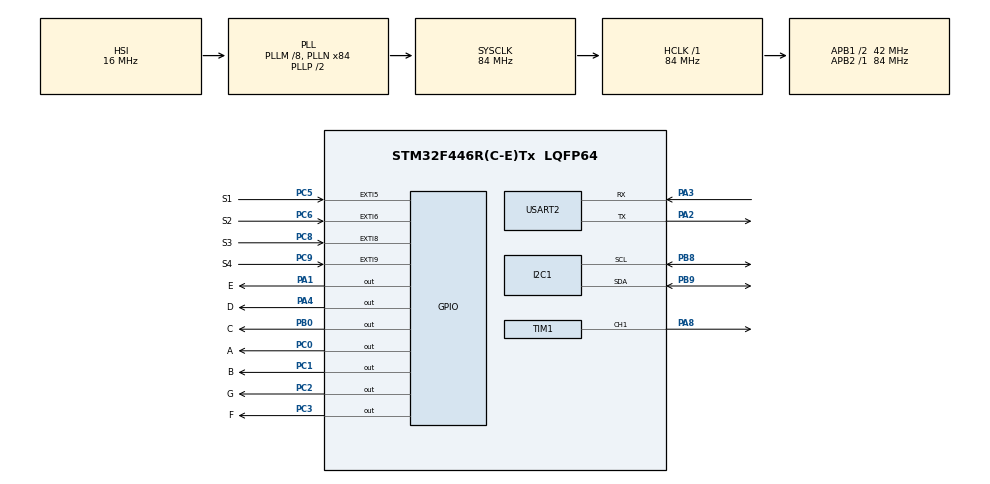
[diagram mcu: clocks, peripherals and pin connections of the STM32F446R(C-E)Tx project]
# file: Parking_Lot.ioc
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Dma.Request0=TIM1_CH1
Dma.TIM1_CH1.0.Direction=DMA_MEMORY_TO_PERIPH
Dma.TIM1_CH1.0.FIFOMode=DMA_FIFOMODE_DISABLE
Dma.TIM1_CH1.0.Instance=DMA2_Stream1
Dma.TIM1_CH1.0.MemDataAlignment=DMA_MDATAALIGN_HALFWORD
Dma.TIM1_CH1.0.MemInc=DMA_MINC_ENABLE
Dma.TIM1_CH1.0.Mode=DMA_NORMAL
Dma.TIM1_CH1.0.PeriphDataAlignment=DMA_PDATAALIGN_HALFWORD
Dma.TIM1_CH1.0.PeriphInc=DMA_PINC_DISABLE
Dma.TIM1_CH1.0.Priority=DMA_PRIORITY_LOW
I2C1.OwnAddress=0x20
Mcu.Family=STM32F4
Mcu.Name=STM32F446R(C-E)Tx
Mcu.Package=LQFP64
NVIC.DMA2_Stream1_IRQn=true\:0\:0\:false\:false\:true\:false\:true\:true
NVIC.EXTI9_5_IRQn=true\:0\:0\:false\:false\:true\:true\:true\:true
NVIC.I2C1_ER_IRQn=true\:0\:0\:false\:false\:true\:true\:true\:true
NVIC.I2C1_EV_IRQn=true\:0\:0\:false\:false\:true\:true\:true\:true
NVIC.PriorityGroup=NVIC_PRIORITYGROUP_4
PA1.GPIO_Label=E
PA1.Signal=GPIO_Output
PA2.Mode=Asynchronous
PA2.Signal=USART2_TX
PA3.Mode=Asynchronous
PA3.Signal=USART2_RX
PA4.GPIO_Label=D
PA4.Signal=GPIO_Output
PA8.Signal=S_TIM1_CH1
PB0.GPIO_Label=C
PB0.Signal=GPIO_Output
PB8.Mode=I2C
PB8.Signal=I2C1_SCL
PB9.Mode=I2C
PB9.Signal=I2C1_SDA
PC0.GPIO_Label=A
PC0.Signal=GPIO_Output
PC1.GPIO_Label=B
PC1.Signal=GPIO_Output
PC2.GPIO_Label=G
PC2.Signal=GPIO_Output
PC3.GPIO_Label=F
PC3.Signal=GPIO_Output
PC5.GPIO_Label=S1
PC5.GPIO_ModeDefaultEXTI=GPIO_MODE_IT_RISING_FALLING
PC5.GPIO_PuPd=GPIO_NOPULL
PC5.Signal=GPXTI5
PC6.GPIO_Label=S2
PC6.GPIO_ModeDefaultEXTI=GPIO_MODE_IT_RISING_FALLING
PC6.GPIO_PuPd=GPIO_NOPULL
PC6.Signal=GPXTI6
PC8.GPIO_Label=S3
PC8.GPIO_PuPd=GPIO_NOPULL
PC8.Signal=GPXTI8
PC9.GPIO_Label=S4
PC9.GPIO_PuPd=GPIO_NOPULL
PC9.Signal=GPXTI9
ProjectManager.HeapSize=0x200
ProjectManager.StackSize=0x400
ProjectManager.TargetToolchain=STM32CubeIDE
RCC.AHBFreq_Value=84000000
RCC.APB1CLKDivider=RCC_HCLK_DIV2
RCC.APB1Freq_Value=42000000
RCC.APB1TimFreq_Value=84000000
RCC.APB2Freq_Value=84000000
RCC.APB2TimFreq_Value=84000000
RCC.CortexFreq_Value=84000000
RCC.HCLKFreq_Value=84000000
RCC.PLLM=8
RCC.PLLN=84
RCC.SYSCLKFreq_VALUE=84000000
RCC.SYSCLKSource=RCC_SYSCLKSOURCE_PLLCLK
RCC.USBFreq_Value=84000000
RCC.VCOOutputFreq_Value=168000000
SH.S_TIM1_CH1.0=TIM1_CH1,PWM Generation1 CH1
TIM1.Channel-PWM\ Generation1\ CH1=TIM_CHANNEL_1
TIM1.Period=150-1
USART2.VirtualMode=VM_ASYNC
board=custom

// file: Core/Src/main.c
/* USER CODE BEGIN Header */
/**
  ******************************************************************************
  * @file           : main.c
  * @brief          : Main program body
  ******************************************************************************
  * @attention
  *
  * Copyright (c) 2025 STMicroelectronics.
  * All rights reserved.
  *
  * This software is licensed under terms that can be found in the LICENSE file
  * in the root directory of this software component.
  * If no LICENSE file comes with this software, it is provided AS-IS.
  *
  ******************************************************************************
  */
/* USER CODE END Header */
#include "main.h"

/* USER CODE BEGIN Includes */
#include "stdio.h"
#include "stdint.h"
#include "Neopixel.h"

/* USER CODE END Includes */

/* USER CODE BEGIN PTD */

// Communication
#define RxSIZE  1
#define TxSIZE  1
/* USER CODE END PTD */

I2C_HandleTypeDef hi2c1;

TIM_HandleTypeDef htim1;
DMA_HandleTypeDef hdma_tim1_ch1;

UART_HandleTypeDef huart2;

/* USER CODE BEGIN PV */

// Communication
uint8_t RxData[RxSIZE];					// Rx Buffer
uint8_t TxData[TxSIZE] = {0};					// Tx Buffer

// Neopixel colors
float brilloled;

// Sensors variables
uint8_t start = 0;
uint8_t keys_memory[8]={0,0,0,0,0,0,0,0};
uint8_t key[8]={0,0,0,0,0,0,0,0};
uint8_t previousStateI2C[4] = {0,0,0,0};
uint8_t currentStateI2C[4] = {0,0,0,0};

// Display 7 segmentos
uint8_t keys = 0;

/* USER CODE END PV */

void SystemClock_Config(void);
static void MX_GPIO_Init(void);
static void MX_DMA_Init(void);
static void MX_I2C1_Init(void);
static void MX_USART2_UART_Init(void);
static void MX_TIM1_Init(void);
/* USER CODE BEGIN PFP */
void showDisplay(uint8_t number);

/* USER CODE END PFP */

int main(void)
{

  /* MCU Configuration--------------------------------------------------------*/

  /* Reset of all peripherals, Initializes the Flash interface and the Systick. */
  HAL_Init();

  /* Configure the system clock */
  SystemClock_Config();

  /* Initialize all configured peripherals */
  MX_GPIO_Init();
  MX_DMA_Init();
  MX_I2C1_Init();
  MX_USART2_UART_Init();
  MX_TIM1_Init();
  /* USER CODE BEGIN 2 */
	// Neopixels Settings (unique color all the time)

	//I2C Communication
	if(HAL_I2C_EnableListen_IT(&hi2c1) != HAL_OK){
	  Error_Handler();
	}

	// Display 7 segmentos
	showDisplay(keys);

	GPIO_PinState currentState = HAL_GPIO_ReadPin(S1_GPIO_Port, S1_Pin);
	switch (currentState) {
	  case GPIO_PIN_SET: key[0] = 0; break;
	  case GPIO_PIN_RESET: key[0] = 1; break;
	  default: break;
	}

	currentState = HAL_GPIO_ReadPin(S2_GPIO_Port, S2_Pin);
	switch (currentState) {
		case GPIO_PIN_SET: key[1] = 0; break;
		case GPIO_PIN_RESET: key[1] = 1; break;
		default: break;
	}

	currentState = HAL_GPIO_ReadPin(S3_GPIO_Port, S3_Pin);
	switch (currentState) {
	  	  case GPIO_PIN_SET: key[2] = 0; break;
		case GPIO_PIN_RESET: key[2] = 1; break;
		default: break;
	}

	currentState = HAL_GPIO_ReadPin(S4_GPIO_Port, S4_Pin);
	switch (currentState){
			case GPIO_PIN_SET: key[3] = 0; break;
			case GPIO_PIN_RESET: key[3] = 1; break;
			default: break;
	}

	start = 1;

  /* USER CODE END 2 */

  /* Infinite loop */
  /* USER CODE BEGIN WHILE */
  while (1)
  {
	  if(start == 1){
		  pixelClear();
		  for(int i = 0; i< 8; i++){
			  if(keys_memory[i] == 1){
				  setPixelColor(i, 255,  0,  0);
			  }
			  else{
				  setPixelColor(i, 0,  255,  0);
			  }
			  HAL_Delay(2);
		  }
		  setBrightness(20);
		  pixelShow();
		  // Display 7 segmentos
		  showDisplay(8-keys);
		  start = 0;
	  }
    /* USER CODE END WHILE */

  }
}

void SystemClock_Config(void)
{
  RCC_OscInitTypeDef RCC_OscInitStruct = {0};
  RCC_ClkInitTypeDef RCC_ClkInitStruct = {0};

  /** Configure the main internal regulator output voltage
  */
  __HAL_RCC_PWR_CLK_ENABLE();
  __HAL_PWR_VOLTAGESCALING_CONFIG(PWR_REGULATOR_VOLTAGE_SCALE3);

  /** Initializes the RCC Oscillators according to the specified parameters
  * in the RCC_OscInitTypeDef structure.
  */
  RCC_OscInitStruct.OscillatorType = RCC_OSCILLATORTYPE_HSI;
  RCC_OscInitStruct.HSIState = RCC_HSI_ON;
  RCC_OscInitStruct.HSICalibrationValue = RCC_HSICALIBRATION_DEFAULT;
  RCC_OscInitStruct.PLL.PLLState = RCC_PLL_ON;
  RCC_OscInitStruct.PLL.PLLSource = RCC_PLLSOURCE_HSI;
  RCC_OscInitStruct.PLL.PLLM = 8;
  RCC_OscInitStruct.PLL.PLLN = 84;
  RCC_OscInitStruct.PLL.PLLP = RCC_PLLP_DIV2;
  RCC_OscInitStruct.PLL.PLLQ = 2;
  RCC_OscInitStruct.PLL.PLLR = 2;
  if (HAL_RCC_OscConfig(&RCC_OscInitStruct) != HAL_OK)
  {
    Error_Handler();
  }

  /** Initializes the CPU, AHB and APB buses clocks
  */
  RCC_ClkInitStruct.ClockType = RCC_CLOCKTYPE_HCLK|RCC_CLOCKTYPE_SYSCLK
                              |RCC_CLOCKTYPE_PCLK1|RCC_CLOCKTYPE_PCLK2;
  RCC_ClkInitStruct.SYSCLKSource = RCC_SYSCLKSOURCE_PLLCLK;
  RCC_ClkInitStruct.AHBCLKDivider = RCC_SYSCLK_DIV1;
  RCC_ClkInitStruct.APB1CLKDivider = RCC_HCLK_DIV2;
  RCC_ClkInitStruct.APB2CLKDivider = RCC_HCLK_DIV1;

  if (HAL_RCC_ClockConfig(&RCC_ClkInitStruct, FLASH_LATENCY_2) != HAL_OK)
  {
    Error_Handler();
  }
}

static void MX_I2C1_Init(void)
{

  hi2c1.Instance = I2C1;
  hi2c1.Init.ClockSpeed = 100000;
  hi2c1.Init.DutyCycle = I2C_DUTYCYCLE_2;
  hi2c1.Init.OwnAddress1 = 64;
  hi2c1.Init.AddressingMode = I2C_ADDRESSINGMODE_7BIT;
  hi2c1.Init.DualAddressMode = I2C_DUALADDRESS_DISABLE;
  hi2c1.Init.OwnAddress2 = 0;
  hi2c1.Init.GeneralCallMode = I2C_GENERALCALL_DISABLE;
  hi2c1.Init.NoStretchMode = I2C_NOSTRETCH_DISABLE;
  if (HAL_I2C_Init(&hi2c1) != HAL_OK)
  {
    Error_Handler();
  }

}

static void MX_TIM1_Init(void)
{

  TIM_MasterConfigTypeDef sMasterConfig = {0};
  TIM_OC_InitTypeDef sConfigOC = {0};
  TIM_BreakDeadTimeConfigTypeDef sBreakDeadTimeConfig = {0};

  htim1.Instance = TIM1;
  htim1.Init.Prescaler = 0;
  htim1.Init.CounterMode = TIM_COUNTERMODE_UP;
  htim1.Init.Period = 150-1;
  htim1.Init.ClockDivision = TIM_CLOCKDIVISION_DIV1;
  htim1.Init.RepetitionCounter = 0;
  htim1.Init.AutoReloadPreload = TIM_AUTORELOAD_PRELOAD_DISABLE;
  if (HAL_TIM_PWM_Init(&htim1) != HAL_OK)
  {
    Error_Handler();
  }
  sMasterConfig.MasterOutputTrigger = TIM_TRGO_RESET;
  sMasterConfig.MasterSlaveMode = TIM_MASTERSLAVEMODE_DISABLE;
  if (HAL_TIMEx_MasterConfigSynchronization(&htim1, &sMasterConfig) != HAL_OK)
  {
    Error_Handler();
  }
  sConfigOC.OCMode = TIM_OCMODE_PWM1;
  sConfigOC.Pulse = 0;
  sConfigOC.OCPolarity = TIM_OCPOLARITY_HIGH;
  sConfigOC.OCNPolarity = TIM_OCNPOLARITY_HIGH;
  sConfigOC.OCFastMode = TIM_OCFAST_DISABLE;
  sConfigOC.OCIdleState = TIM_OCIDLESTATE_RESET;
  sConfigOC.OCNIdleState = TIM_OCNIDLESTATE_RESET;
  if (HAL_TIM_PWM_ConfigChannel(&htim1, &sConfigOC, TIM_CHANNEL_1) != HAL_OK)
  {
    Error_Handler();
  }
  sBreakDeadTimeConfig.OffStateRunMode = TIM_OSSR_DISABLE;
  sBreakDeadTimeConfig.OffStateIDLEMode = TIM_OSSI_DISABLE;
  sBreakDeadTimeConfig.LockLevel = TIM_LOCKLEVEL_OFF;
  sBreakDeadTimeConfig.DeadTime = 0;
  sBreakDeadTimeConfig.BreakState = TIM_BREAK_DISABLE;
  sBreakDeadTimeConfig.BreakPolarity = TIM_BREAKPOLARITY_HIGH;
  sBreakDeadTimeConfig.AutomaticOutput = TIM_AUTOMATICOUTPUT_DISABLE;
  if (HAL_TIMEx_ConfigBreakDeadTime(&htim1, &sBreakDeadTimeConfig) != HAL_OK)
  {
    Error_Handler();
  }
  HAL_TIM_MspPostInit(&htim1);

}

static void MX_USART2_UART_Init(void)
{

  huart2.Instance = USART2;
  huart2.Init.BaudRate = 115200;
  huart2.Init.WordLength = UART_WORDLENGTH_8B;
  huart2.Init.StopBits = UART_STOPBITS_1;
  huart2.Init.Parity = UART_PARITY_NONE;
  huart2.Init.Mode = UART_MODE_TX_RX;
  huart2.Init.HwFlowCtl = UART_HWCONTROL_NONE;
  huart2.Init.OverSampling = UART_OVERSAMPLING_16;
  if (HAL_UART_Init(&huart2) != HAL_OK)
  {
    Error_Handler();
  }

}

static void MX_DMA_Init(void)
{

  /* DMA controller clock enable */
  __HAL_RCC_DMA2_CLK_ENABLE();

  /* DMA interrupt init */
  /* DMA2_Stream1_IRQn interrupt configuration */
  HAL_NVIC_SetPriority(DMA2_Stream1_IRQn, 0, 0);
  HAL_NVIC_EnableIRQ(DMA2_Stream1_IRQn);

}

static void MX_GPIO_Init(void)
{
  GPIO_InitTypeDef GPIO_InitStruct = {0};

  /* GPIO Ports Clock Enable */
  __HAL_RCC_GPIOC_CLK_ENABLE();
  __HAL_RCC_GPIOA_CLK_ENABLE();
  __HAL_RCC_GPIOB_CLK_ENABLE();

  /*Configure GPIO pin Output Level */
  HAL_GPIO_WritePin(GPIOC, A_Pin|B_Pin|G_Pin|F_Pin, GPIO_PIN_RESET);

  /*Configure GPIO pin Output Level */
  HAL_GPIO_WritePin(GPIOA, E_Pin|D_Pin, GPIO_PIN_RESET);

  /*Configure GPIO pin Output Level */
  HAL_GPIO_WritePin(C_GPIO_Port, C_Pin, GPIO_PIN_RESET);

  /*Configure GPIO pins : A_Pin B_Pin G_Pin F_Pin */
  GPIO_InitStruct.Pin = A_Pin|B_Pin|G_Pin|F_Pin;
  GPIO_InitStruct.Mode = GPIO_MODE_OUTPUT_PP;
  GPIO_InitStruct.Pull = GPIO_NOPULL;
  GPIO_InitStruct.Speed = GPIO_SPEED_FREQ_LOW;
  HAL_GPIO_Init(GPIOC, &GPIO_InitStruct);

  /*Configure GPIO pins : E_Pin D_Pin */
  GPIO_InitStruct.Pin = E_Pin|D_Pin;
  GPIO_InitStruct.Mode = GPIO_MODE_OUTPUT_PP;
  GPIO_InitStruct.Pull = GPIO_NOPULL;
  GPIO_InitStruct.Speed = GPIO_SPEED_FREQ_LOW;
  HAL_GPIO_Init(GPIOA, &GPIO_InitStruct);

  /*Configure GPIO pins : S1_Pin S2_Pin */
  GPIO_InitStruct.Pin = S1_Pin|S2_Pin;
  GPIO_InitStruct.Mode = GPIO_MODE_IT_RISING_FALLING;
  GPIO_InitStruct.Pull = GPIO_NOPULL;
  HAL_GPIO_Init(GPIOC, &GPIO_InitStruct);

  /*Configure GPIO pin : C_Pin */
  GPIO_InitStruct.Pin = C_Pin;
  GPIO_InitStruct.Mode = GPIO_MODE_OUTPUT_PP;
  GPIO_InitStruct.Pull = GPIO_NOPULL;
  GPIO_InitStruct.Speed = GPIO_SPEED_FREQ_LOW;
  HAL_GPIO_Init(C_GPIO_Port, &GPIO_InitStruct);

  /*Configure GPIO pins : S3_Pin S4_Pin */
  GPIO_InitStruct.Pin = S3_Pin|S4_Pin;
  GPIO_InitStruct.Mode = GPIO_MODE_IT_RISING;
  GPIO_InitStruct.Pull = GPIO_NOPULL;
  HAL_GPIO_Init(GPIOC, &GPIO_InitStruct);

  /* EXTI interrupt init*/
  HAL_NVIC_SetPriority(EXTI9_5_IRQn, 0, 0);
  HAL_NVIC_EnableIRQ(EXTI9_5_IRQn);

}

/* USER CODE BEGIN 4 */

/* Display 7 segmentos*/
void showDisplay(uint8_t number) {	// It updates every display's pin, it compares every pattern bit to set or reset the display pin
	// Numbers for display, hex, 0-F
	uint8_t displayN[] = {0x3F,0x06,0x5B,0x4F,0x66,0x6D,0x7D,0x07,0x7F,0x6F,0x77,0x7C,0x39,0x5E,0x79,0x71};
	// pin port, add dot if necessary
	GPIO_TypeDef *display_ports[] = {A_GPIO_Port, B_GPIO_Port, C_GPIO_Port, D_GPIO_Port, E_GPIO_Port, F_GPIO_Port, G_GPIO_Port};
	// pin number, add dot if necessary
	uint16_t display_pins[] = {A_Pin, B_Pin, C_Pin, D_Pin, E_Pin, F_Pin, G_Pin};
	// Not using dot, if using dot, k<8
	for (int k = 0; k < 7; k++) HAL_GPIO_WritePin(display_ports[k], display_pins[k], (displayN[number]>> k) & 1);
}

/* External Interruptions: Sensors */
void HAL_GPIO_EXTI_Callback(uint16_t GPIO_Pin){
	if(GPIO_Pin == S1_Pin && start == 0){
			GPIO_PinState currentState1 = HAL_GPIO_ReadPin(S1_GPIO_Port, S1_Pin);
			switch (currentState1) {
				case GPIO_PIN_SET: key[0] = 0; break;
				case GPIO_PIN_RESET: key[0] = 1; break;
				default: break;
			}
		}

		if(GPIO_Pin == S2_Pin && start == 0){
			GPIO_PinState currentState2 = HAL_GPIO_ReadPin(S2_GPIO_Port, S2_Pin);
			switch (currentState2) {
				case GPIO_PIN_SET: key[1] = 0; break;
				case GPIO_PIN_RESET: key[1] = 1; break;
				default: break;
			}
		}

		if(GPIO_Pin == S3_Pin && start == 0){
			GPIO_PinState currentState3 = HAL_GPIO_ReadPin(S3_GPIO_Port, S3_Pin);
			switch (currentState3) {
				case GPIO_PIN_SET: key[2] = 0; break;
				case GPIO_PIN_RESET: key[2] = 1; break;
				default: break;
			}
		}

		if(GPIO_Pin == S4_Pin && start == 0){
			GPIO_PinState currentState4 = HAL_GPIO_ReadPin(S4_GPIO_Port, S4_Pin);
			switch (currentState4) {
				case GPIO_PIN_SET: key[3] = 0; break;
				case GPIO_PIN_RESET: key[3] = 1; break;
				default: break;
			}
		}
}

/* I2C Callbacks */
void HAL_I2C_ListenCpltCallback(I2C_HandleTypeDef *hi2c){													//At the end of the each data analysis
	HAL_I2C_EnableListen_IT(hi2c);
	keys = 0;
	uint8_t acceptData = 0;
	for (int i = 0; i < 8; i++) if(keys_memory[i] != (RxData[0] & (1 << i))) acceptData = 1;
	if(acceptData){
		for (int i = 0; i < 8; i++) keys_memory[i] = 0;
		for (int i = 0; i < 8; i++) {
			if((RxData[0] & (1 << i))) {
				keys++;
				keys_memory[i] = 1;
			}
		}
		start = 1;
		acceptData = 0;
	}
	TxData[0] = 0;
	for (int j = 0; j < 4; j++){
		if(key[j]==1){
			TxData[0] |= (1<<j);
		}
	}
}
void HAL_I2C_SlaveTxCpltCallback(I2C_HandleTypeDef *I2cHandle){												//Tx Transfer completed callback -> End Transmission
}
void HAL_I2C_SlaveRxCpltCallback(I2C_HandleTypeDef *I2cHandle){												//Rx Transfer completed callback -> End Receiving
	//HAL_UART_Transmit(&huart2, RxData, 4, 1000);
}
void HAL_I2C_AddrCallback(I2C_HandleTypeDef *hi2c, uint8_t TransferDirection, uint16_t AddrMatchCode)		// Slave Address Match Callback
{
	if (TransferDirection == I2C_DIRECTION_TRANSMIT)  // if the master wants to transmit the data
	{
		if (HAL_I2C_Slave_Seq_Receive_IT(&hi2c1, (uint8_t *) RxData, RxSIZE, I2C_FIRST_AND_LAST_FRAME) != HAL_OK){
			Error_Handler();
		}
	}
	else if (TransferDirection == I2C_DIRECTION_RECEIVE){
		if (HAL_I2C_Slave_Seq_Transmit_IT(&hi2c1, (uint8_t *) TxData, TxSIZE, I2C_FIRST_AND_LAST_FRAME) != HAL_OK){
			Error_Handler();
		}
	}
}
void HAL_I2C_ErrorCallback(I2C_HandleTypeDef *I2cHandle)													// I2C Communication Error callback
{
	if(HAL_I2C_GetError(I2cHandle) != HAL_I2C_ERROR_AF){
		Error_Handler();
	}
}

/* USER CODE END 4 */

void Error_Handler(void)
{
  __disable_irq();
  while (1)
  {
  }
}
